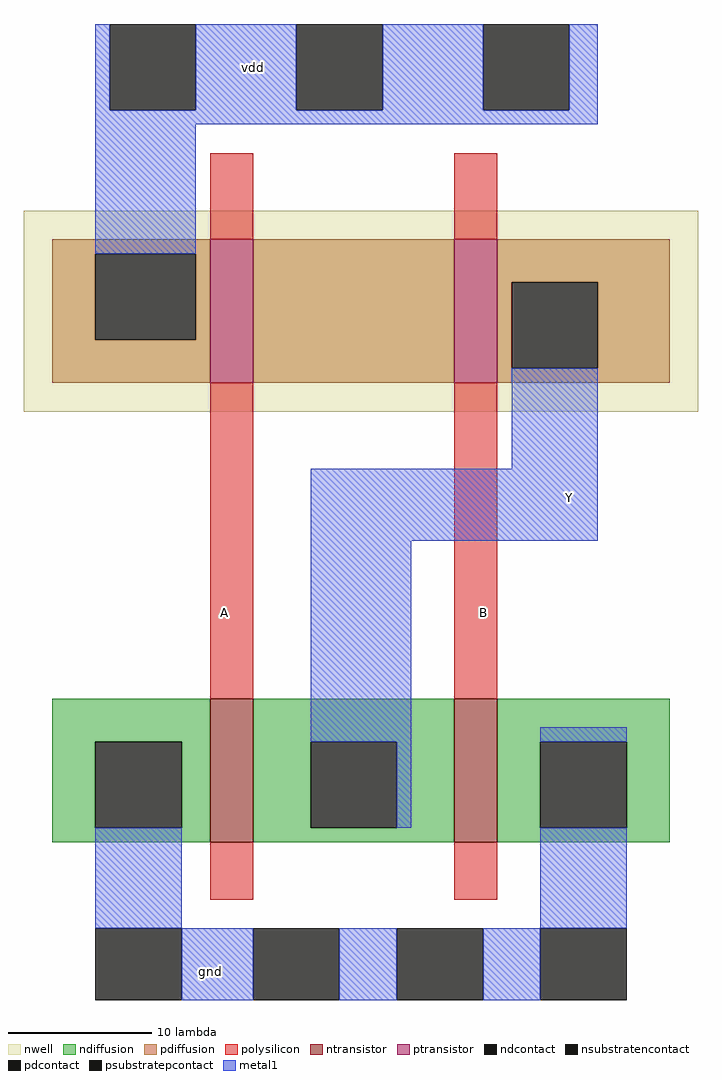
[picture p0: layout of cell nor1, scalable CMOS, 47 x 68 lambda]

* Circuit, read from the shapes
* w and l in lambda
.subckt nor1 A B Y gnd vdd
M1 Y A gnd gnd nfet w=10 l=3
M2 gnd B Y gnd nfet w=10 l=3
M3 n1 A vdd n2 pfet w=10 l=3
M4 Y B n1 n2 pfet w=10 l=3
.ends

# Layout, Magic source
magic
tech scmos
<< nwell >>
rect -12 17 35 31
<< polysilicon >>
rect 1 29 4 35
rect 18 29 21 35
rect 1 -3 4 19
rect 18 -3 21 19
rect 1 -17 4 -13
rect 18 -17 21 -13
<< ndiffusion >>
rect -10 -6 1 -3
rect -10 -12 -7 -6
rect -1 -12 1 -6
rect -10 -13 1 -12
rect 4 -6 18 -3
rect 4 -12 8 -6
rect 14 -12 18 -6
rect 4 -13 18 -12
rect 21 -6 33 -3
rect 21 -12 24 -6
rect 30 -12 33 -6
rect 21 -13 33 -12
<< pdiffusion >>
rect -10 28 1 29
rect -10 22 -7 28
rect 0 22 1 28
rect -10 19 1 22
rect 4 19 18 29
rect 21 26 33 29
rect 21 20 22 26
rect 28 20 33 26
rect 21 19 33 20
<< metal1 >>
rect -7 38 -6 44
rect 0 38 7 44
rect 13 38 20 44
rect 26 38 28 44
rect -7 37 28 38
rect -7 28 0 37
rect 22 13 28 20
rect 8 8 28 13
rect 8 -6 15 8
rect 14 -12 15 -6
rect 24 -6 30 -5
rect -7 -19 -1 -12
rect 24 -19 30 -12
rect -1 -24 4 -19
rect 10 -24 14 -19
rect 20 -24 24 -19
<< ntransistor >>
rect 1 -13 4 -3
rect 18 -13 21 -3
<< ptransistor >>
rect 1 19 4 29
rect 18 19 21 29
<< ndcontact >>
rect -7 -12 -1 -6
rect 8 -12 14 -6
rect 24 -12 30 -6
<< pdcontact >>
rect -7 22 0 28
rect 22 20 28 26
<< psubstratepcontact >>
rect -7 -24 -1 -19
rect 4 -24 10 -19
rect 14 -24 20 -19
rect 24 -24 30 -19
<< nsubstratencontact >>
rect -6 38 0 44
rect 7 38 13 44
rect 20 38 26 44
<< labels >>
rlabel polysilicon 2 3 2 3 1 A
rlabel polysilicon 20 3 20 3 1 B
rlabel metal1 26 11 26 11 1 Y
rlabel metal1 4 41 4 41 5 vdd
rlabel metal1 1 -22 1 -22 1 gnd
<< end >>
